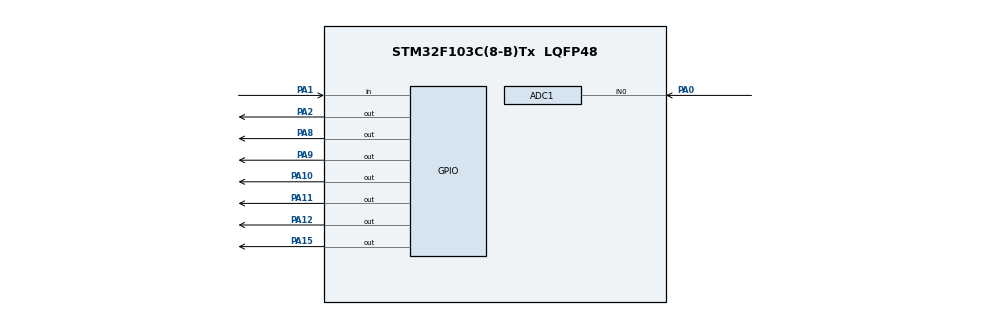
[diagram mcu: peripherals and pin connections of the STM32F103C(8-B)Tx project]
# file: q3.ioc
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ADC1.Channel-0\#ChannelRegularConversion=ADC_CHANNEL_0
ADC1.NbrOfConversionFlag=1
ADC1.Rank-0\#ChannelRegularConversion=1
ADC1.SamplingTime-0\#ChannelRegularConversion=ADC_SAMPLETIME_1CYCLE_5
ADC1.master=1
Mcu.Family=STM32F1
Mcu.Name=STM32F103C(8-B)Tx
Mcu.Package=LQFP48
NVIC.PriorityGroup=NVIC_PRIORITYGROUP_4
PA0-WKUP.Signal=ADCx_IN0
PA1.Signal=GPIO_Input
PA10.Signal=GPIO_Output
PA11.Signal=GPIO_Output
PA12.Signal=GPIO_Output
PA13.Mode=Serial_Wire
PA13.Signal=SYS_JTMS-SWDIO
PA14.Mode=Serial_Wire
PA14.Signal=SYS_JTCK-SWCLK
PA15.Signal=GPIO_Output
PA2.Signal=GPIO_Output
PA8.Signal=GPIO_Output
PA9.Signal=GPIO_Output
PD0-OSC_IN.Mode=HSE-External-Oscillator
PD0-OSC_IN.Signal=RCC_OSC_IN
PD1-OSC_OUT.Mode=HSE-External-Oscillator
PD1-OSC_OUT.Signal=RCC_OSC_OUT
ProjectManager.HeapSize=0x200
ProjectManager.StackSize=0x400
ProjectManager.TargetToolchain=STM32CubeIDE
RCC.APB1Freq_Value=8000000
RCC.APB2Freq_Value=8000000
SH.ADCx_IN0.0=ADC1_IN0,IN0
board=custom

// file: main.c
/* USER CODE BEGIN Header */
/**
  ******************************************************************************
  * @file           : main.c
  * @brief          : Main program body
  ******************************************************************************
  * @attention
  *
  * Copyright (c) 2026 STMicroelectronics.
  * All rights reserved.
  *
  * This software is licensed under terms that can be found in the LICENSE file
  * in the root directory of this software component.
  * If no LICENSE file comes with this software, it is provided AS-IS.
  *
  ******************************************************************************
  */
/* USER CODE END Header */
#include "main.h"

/* USER CODE BEGIN Includes */
#include "lcd.h"
#include <stdio.h>
/* USER CODE END Includes */

ADC_HandleTypeDef hadc1;

/* USER CODE BEGIN PV */
uint16_t adc_value = 0;
float voltage = 0.0;
uint8_t d0_state = 0;
char lcd_buffer[16];
/* USER CODE END PV */

void SystemClock_Config(void);
static void MX_GPIO_Init(void);
static void MX_ADC1_Init(void);

int main(void)
{

  /* MCU Configuration--------------------------------------------------------*/

  /* Reset of all peripherals, Initializes the Flash interface and the Systick. */
  HAL_Init();

  /* Configure the system clock */
  SystemClock_Config();

  /* Initialize all configured peripherals */
  MX_GPIO_Init();
  MX_ADC1_Init();
  /* USER CODE BEGIN 2 */
  Lcd_PortType ports[] = {GPIOA, GPIOA, GPIOA, GPIOA};
    Lcd_PinType pins[] = {GPIO_PIN_10, GPIO_PIN_11, GPIO_PIN_12, GPIO_PIN_15};
    Lcd_HandleTypeDef hlcd = Lcd_create(ports, pins, GPIOA, GPIO_PIN_8, GPIOA, GPIO_PIN_9, LCD_4_BIT_MODE);

    // Calibrate and Start ADC
    HAL_ADCEx_Calibration_Start(&hadc1);
  /* USER CODE END 2 */

  /* Infinite loop */
  /* USER CODE BEGIN WHILE */
    while (1)
      {
          HAL_ADC_Start(&hadc1);
          if (HAL_ADC_PollForConversion(&hadc1, 10) == HAL_OK) {
              adc_value = HAL_ADC_GetValue(&hadc1);
          }
          HAL_ADC_Stop(&hadc1);
          voltage = (adc_value * 3.3f) / 4095.0f;
          d0_state = HAL_GPIO_ReadPin(GPIOA, GPIO_PIN_1);
          if (d0_state == GPIO_PIN_SET) {
                    HAL_GPIO_WritePin(GPIOA, GPIO_PIN_2, GPIO_PIN_SET);   // Turn LED ON (Bright Light)
                } else {
                    HAL_GPIO_WritePin(GPIOA, GPIO_PIN_2, GPIO_PIN_RESET); // Turn LED OFF (Low Light)
                }

          Lcd_clear(&hlcd);
          sprintf(lcd_buffer, "A0:%04d V:%.2fV", adc_value, voltage);
                Lcd_cursor(&hlcd, 0, 0);
                Lcd_string(&hlcd, lcd_buffer);
                if (d0_state == GPIO_PIN_SET) {
                    sprintf(lcd_buffer, "D0:1 LED:ON ");  // D0 is HIGH, LED is physically ON
                } else {
                    sprintf(lcd_buffer, "D0:0 LED:OFF");  // D0 is LOW, LED is physically OFF
                }
                Lcd_cursor(&hlcd, 1, 0);
                Lcd_string(&hlcd, lcd_buffer);

                HAL_Delay(300);
      }
    /* USER CODE END WHILE */

  }

void SystemClock_Config(void)
{
  RCC_OscInitTypeDef RCC_OscInitStruct = {0};
  RCC_ClkInitTypeDef RCC_ClkInitStruct = {0};
  RCC_PeriphCLKInitTypeDef PeriphClkInit = {0};

  /** Initializes the RCC Oscillators according to the specified parameters
  * in the RCC_OscInitTypeDef structure.
  */
  RCC_OscInitStruct.OscillatorType = RCC_OSCILLATORTYPE_HSI;
  RCC_OscInitStruct.HSIState = RCC_HSI_ON;
  RCC_OscInitStruct.HSICalibrationValue = RCC_HSICALIBRATION_DEFAULT;
  RCC_OscInitStruct.PLL.PLLState = RCC_PLL_NONE;
  if (HAL_RCC_OscConfig(&RCC_OscInitStruct) != HAL_OK)
  {
    Error_Handler();
  }

  /** Initializes the CPU, AHB and APB buses clocks
  */
  RCC_ClkInitStruct.ClockType = RCC_CLOCKTYPE_HCLK|RCC_CLOCKTYPE_SYSCLK
                              |RCC_CLOCKTYPE_PCLK1|RCC_CLOCKTYPE_PCLK2;
  RCC_ClkInitStruct.SYSCLKSource = RCC_SYSCLKSOURCE_HSI;
  RCC_ClkInitStruct.AHBCLKDivider = RCC_SYSCLK_DIV1;
  RCC_ClkInitStruct.APB1CLKDivider = RCC_HCLK_DIV1;
  RCC_ClkInitStruct.APB2CLKDivider = RCC_HCLK_DIV1;

  if (HAL_RCC_ClockConfig(&RCC_ClkInitStruct, FLASH_LATENCY_0) != HAL_OK)
  {
    Error_Handler();
  }
  PeriphClkInit.PeriphClockSelection = RCC_PERIPHCLK_ADC;
  PeriphClkInit.AdcClockSelection = RCC_ADCPCLK2_DIV2;
  if (HAL_RCCEx_PeriphCLKConfig(&PeriphClkInit) != HAL_OK)
  {
    Error_Handler();
  }
}

static void MX_ADC1_Init(void)
{

  ADC_ChannelConfTypeDef sConfig = {0};

  /** Common config
  */
  hadc1.Instance = ADC1;
  hadc1.Init.ScanConvMode = ADC_SCAN_DISABLE;
  hadc1.Init.ContinuousConvMode = DISABLE;
  hadc1.Init.DiscontinuousConvMode = DISABLE;
  hadc1.Init.ExternalTrigConv = ADC_SOFTWARE_START;
  hadc1.Init.DataAlign = ADC_DATAALIGN_RIGHT;
  hadc1.Init.NbrOfConversion = 1;
  if (HAL_ADC_Init(&hadc1) != HAL_OK)
  {
    Error_Handler();
  }

  /** Configure Regular Channel
  */
  sConfig.Channel = ADC_CHANNEL_0;
  sConfig.Rank = ADC_REGULAR_RANK_1;
  sConfig.SamplingTime = ADC_SAMPLETIME_1CYCLE_5;
  if (HAL_ADC_ConfigChannel(&hadc1, &sConfig) != HAL_OK)
  {
    Error_Handler();
  }

}

static void MX_GPIO_Init(void)
{
  GPIO_InitTypeDef GPIO_InitStruct = {0};

  /* GPIO Ports Clock Enable */
  __HAL_RCC_GPIOD_CLK_ENABLE();
  __HAL_RCC_GPIOA_CLK_ENABLE();

  /*Configure GPIO pin Output Level */
  HAL_GPIO_WritePin(GPIOA, GPIO_PIN_2|GPIO_PIN_8|GPIO_PIN_9|GPIO_PIN_10
                          |GPIO_PIN_11|GPIO_PIN_12|GPIO_PIN_15, GPIO_PIN_RESET);

  /*Configure GPIO pin : PA1 */
  GPIO_InitStruct.Pin = GPIO_PIN_1;
  GPIO_InitStruct.Mode = GPIO_MODE_INPUT;
  GPIO_InitStruct.Pull = GPIO_NOPULL;
  HAL_GPIO_Init(GPIOA, &GPIO_InitStruct);

  /*Configure GPIO pins : PA2 PA8 PA9 PA10
                           PA11 PA12 PA15 */
  GPIO_InitStruct.Pin = GPIO_PIN_2|GPIO_PIN_8|GPIO_PIN_9|GPIO_PIN_10
                          |GPIO_PIN_11|GPIO_PIN_12|GPIO_PIN_15;
  GPIO_InitStruct.Mode = GPIO_MODE_OUTPUT_PP;
  GPIO_InitStruct.Pull = GPIO_NOPULL;
  GPIO_InitStruct.Speed = GPIO_SPEED_FREQ_LOW;
  HAL_GPIO_Init(GPIOA, &GPIO_InitStruct);

}

void Error_Handler(void)
{
  __disable_irq();
  while (1)
  {
  }
}
